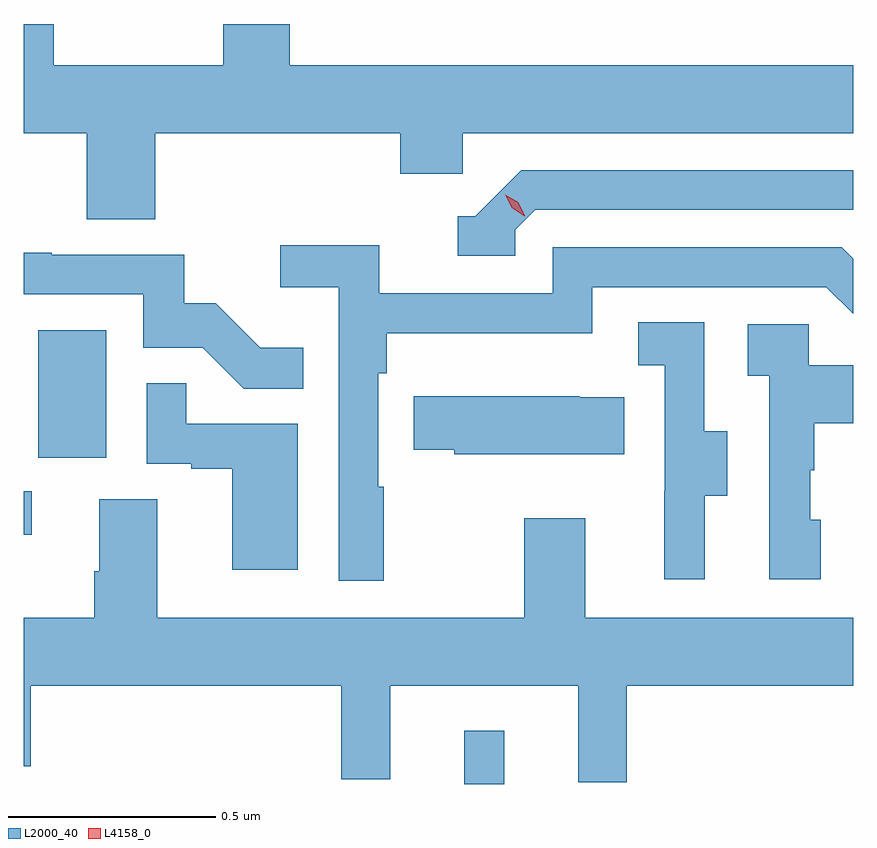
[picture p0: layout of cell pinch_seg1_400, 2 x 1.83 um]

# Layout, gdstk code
import gdstk
lib = gdstk.Library(unit=1e-6, precision=1e-09)
def R(c, l, rs):  # rectangles x0, y0, x1, y1
    for r in rs: c.add(gdstk.rectangle(r[:2], r[2:], *l))
def P(c, l, *ps):  # polygons
    for p in ps: c.add(gdstk.Polygon(p, *l))
L2000_40 = (2000, 40)
L4158_0 = (4158, 0)

pinch_seg1_400 = lib.new_cell('pinch_seg1_400')
R(pinch_seg1_400, L2000_40, [(1000.845,528.851,1000.942,528.979), (999.783,529.452,999.802,529.557), (999.818,529.638,999.982,529.945)])
P(pinch_seg1_400, L2000_40, [(1000.1,530.42),(1000.691,530.42),(1000.691,530.322),(1000.842,530.322),(1000.842,530.42),(1001.783,530.42),(1001.783,530.584),(1000.424,530.584),(1000.424,530.683),(1000.264,530.683),(1000.264,530.584),(999.855,530.584),(999.855,530.683),(999.783,530.683),(999.783,530.42),(999.935,530.42),(999.935,530.212),(1000.1,530.212)],
  [(1000.968,530.187),(1001.016,530.235),(1001.783,530.235),(1001.783,530.331),(1000.983,530.331),(1000.872,530.22),(1000.829,530.22),(1000.829,530.124),(1000.968,530.124)],
  [(1000.651,529.568),(1000.638,529.568),(1000.638,529.841),(1000.658,529.841),(1000.658,529.937),(1001.154,529.937),(1001.154,530.049),(1001.718,530.049),(1001.783,529.984),(1001.783,530.117),(1001.755,530.145),(1001.058,530.145),(1001.058,530.034),(1000.64,530.034),(1000.64,530.15),(1000.401,530.15),(1000.401,530.048),(1000.542,530.048),(1000.542,529.341),(1000.651,529.341)],
  [(1000.457,529.903),(1000.353,529.903),(1000.246,530.01),(1000.17,530.01),(1000.17,530.127),(999.851,530.127),(999.851,530.132),(999.783,530.132),(999.783,530.031),(1000.071,530.031),(1000.071,529.902),(1000.215,529.902),(1000.313,529.804),(1000.457,529.804)],
  [(1001.425,529.546),(1001.479,529.546),(1001.479,529.701),(1001.424,529.701),(1001.424,529.964),(1001.265,529.964),(1001.265,529.861),(1001.328,529.861),(1001.328,529.557),(1001.327,529.557),(1001.327,529.344),(1001.425,529.344)],
  [(1001.704,529.488),(1001.679,529.488),(1001.679,529.607),(1001.689,529.607),(1001.689,529.721),(1001.783,529.721),(1001.783,529.861),(1001.676,529.861),(1001.676,529.959),(1001.529,529.959),(1001.529,529.835),(1001.58,529.835),(1001.58,529.344),(1001.704,529.344)],
  [(1000.444,529.719),(1000.175,529.719),(1000.175,529.817),(1000.08,529.817),(1000.08,529.623),(1000.187,529.623),(1000.187,529.611),(1000.286,529.611),(1000.286,529.368),(1000.444,529.368)],
  [(1001.231,529.783),(1001.123,529.783),(1001.123,529.786),(1000.723,529.786),(1000.723,529.657),(1000.821,529.657),(1000.821,529.646),(1001.231,529.646)],
  [(1001.237,529.088),(1001.783,529.088),(1001.783,529.252),(1001.137,529.252),(1001.137,529.492),(1000.99,529.492),(1000.99,529.252),(1000.105,529.252),(1000.105,529.538),(999.965,529.538),(999.965,529.364),(999.953,529.364),(999.953,529.252),(999.783,529.252),(999.783,528.894),(999.8,528.894),(999.8,529.088),(1000.549,529.088),(1000.549,528.863),(1000.667,528.863),(1000.667,529.088),(1001.12,529.088),(1001.12,528.855),(1001.237,528.855)])
P(pinch_seg1_400, L4158_0, [(1000.991,530.22),(1000.96,530.24),(1000.944,530.272),(1000.944,530.272),(1000.944,530.272),(1000.975,530.253),(1000.991,530.221),(1000.991,530.22)])

lib.write_gds('pinch_seg1_400.gds')
